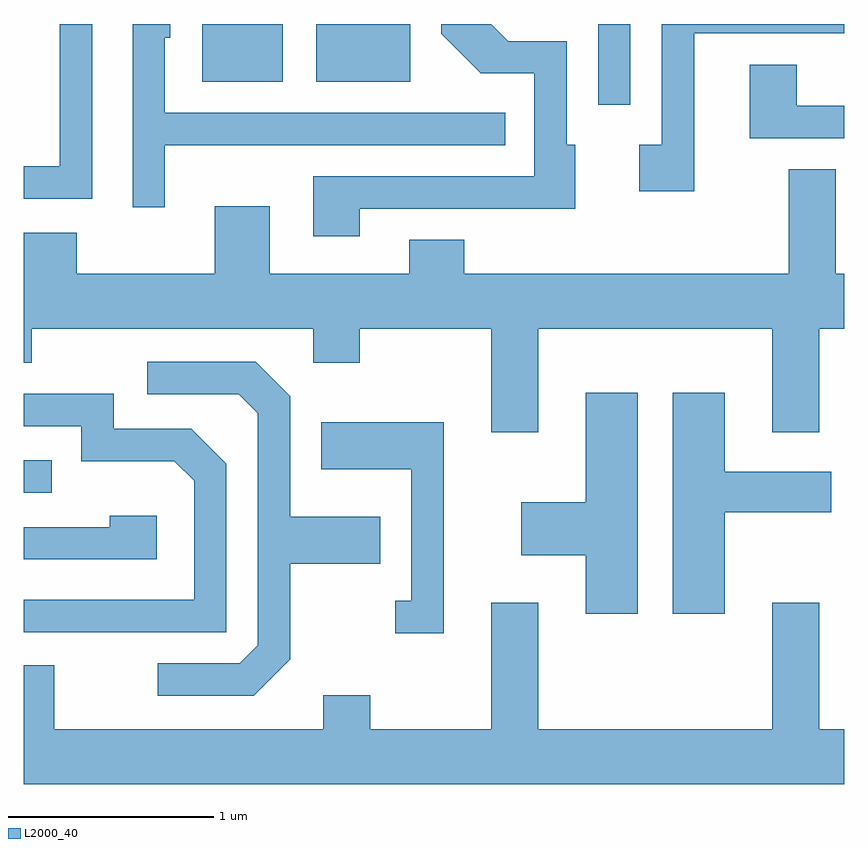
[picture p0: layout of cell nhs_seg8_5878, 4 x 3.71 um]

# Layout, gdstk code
import gdstk
lib = gdstk.Library(unit=1e-6, precision=1e-09)
def R(c, l, rs):  # rectangles x0, y0, x1, y1
    for r in rs: c.add(gdstk.rectangle(r[:2], r[2:], *l))
def P(c, l, *ps):  # polygons
    for p in ps: c.add(gdstk.Polygon(p, *l))
L2000_40 = (2000, 40)

nhs_seg8_5878 = lib.new_cell('nhs_seg8_5878')
R(nhs_seg8_5878, L2000_40, [(361.611,1840.056,361.748,1840.214), (364.411,1841.948,364.569,1842.342), (362.481,1842.061,362.874,1842.342), (363.036,1842.061,363.494,1842.342)])
P(nhs_seg8_5878, L2000_40, [(362.299,1841.751),(363.958,1841.751),(363.958,1841.909),(362.299,1841.909),(362.299,1842.276),(362.324,1842.276),(362.324,1842.342),(362.141,1842.342),(362.141,1841.448),(362.299,1841.448)],
  [(361.944,1842.342),(361.786,1842.342),(361.786,1841.649),(361.611,1841.649),(361.611,1841.491),(361.944,1841.491)],
  [(363.249,1841.441),(364.299,1841.441),(364.299,1841.754),(364.259,1841.754),(364.259,1842.259),(363.972,1842.259),(363.889,1842.342),(363.646,1842.342),(363.646,1842.294),(363.839,1842.101),(364.101,1842.101),(364.101,1841.599),(363.021,1841.599),(363.021,1841.306),(363.249,1841.306)],
  [(364.879,1842.296),(365.611,1842.296),(365.611,1842.342),(364.721,1842.342),(364.721,1841.754),(364.611,1841.754),(364.611,1841.526),(364.879,1841.526)],
  [(365.611,1841.944),(365.379,1841.944),(365.379,1842.144),(365.151,1842.144),(365.151,1841.786),(365.611,1841.786)],
  [(362.809,1841.454),(362.541,1841.454),(362.541,1841.124),(361.869,1841.124),(361.869,1841.324),(361.611,1841.324),(361.611,1840.691),(361.649,1840.691),(361.649,1840.856),(363.021,1840.856),(363.021,1840.691),(363.249,1840.691),(363.249,1840.856),(363.891,1840.856),(363.891,1840.351),(364.119,1840.351),(364.119,1840.856),(365.261,1840.856),(365.261,1840.351),(365.489,1840.351),(365.489,1840.856),(365.611,1840.856),(365.611,1841.124),(365.569,1841.124),(365.569,1841.634),(365.341,1841.634),(365.341,1841.124),(363.759,1841.124),(363.759,1841.289),(363.491,1841.289),(363.491,1841.124),(362.809,1841.124)],
  [(362.909,1839.244),(362.909,1839.711),(363.349,1839.711),(363.349,1839.939),(362.909,1839.939),(362.909,1840.527),(362.742,1840.694),(362.213,1840.694),(362.213,1840.536),(362.659,1840.536),(362.751,1840.444),(362.751,1839.312),(362.664,1839.224),(362.263,1839.224),(362.263,1839.066),(362.732,1839.066)],
  [(364.604,1840.544),(364.351,1840.544),(364.351,1840.009),(364.036,1840.009),(364.036,1839.751),(364.351,1839.751),(364.351,1839.466),(364.604,1839.466)],
  [(365.029,1839.961),(365.549,1839.961),(365.549,1840.159),(365.029,1840.159),(365.029,1840.544),(364.776,1840.544),(364.776,1839.466),(365.029,1839.466)],
  [(362.599,1840.197),(362.427,1840.369),(362.049,1840.369),(362.049,1840.539),(361.611,1840.539),(361.611,1840.381),(361.891,1840.381),(361.891,1840.211),(362.344,1840.211),(362.441,1840.114),(362.441,1839.534),(361.611,1839.534),(361.611,1839.376),(362.599,1839.376)],
  [(363.659,1840.399),(363.061,1840.399),(363.061,1840.171),(363.501,1840.171),(363.501,1839.529),(363.423,1839.529),(363.423,1839.371),(363.659,1839.371)],
  [(362.259,1839.944),(362.031,1839.944),(362.031,1839.889),(361.611,1839.889),(361.611,1839.731),(362.259,1839.731)],
  [(361.611,1839.214),(361.611,1838.636),(365.611,1838.636),(365.611,1838.904),(365.489,1838.904),(365.489,1839.519),(365.261,1839.519),(365.261,1838.904),(364.119,1838.904),(364.119,1839.519),(363.891,1839.519),(363.891,1838.904),(363.299,1838.904),(363.299,1839.069),(363.071,1839.069),(363.071,1838.904),(361.759,1838.904),(361.759,1839.214)])

lib.write_gds('nhs_seg8_5878.gds')
